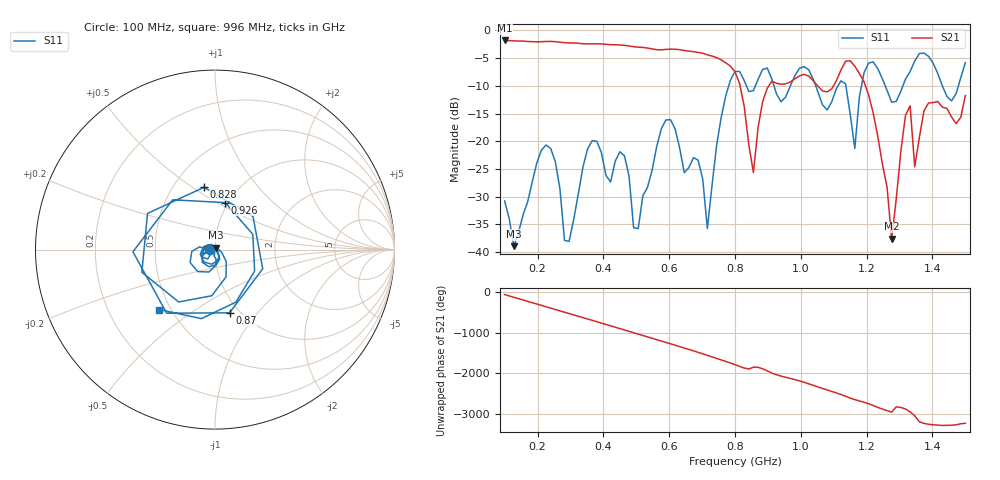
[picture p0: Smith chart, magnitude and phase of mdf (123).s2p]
! NanoVNA-App
! Date: 2025-09-25 15:39:23
! Start: 100MHz Stop: 1,5GHz Points: 101
! S-Parameter data: F S11 S21 S12 S22
# Hz S RI R 50
!  Frequency  S11_Real  S11_Imag  S21_Real  S21_Imag  S12_Real  S12_Imag  S22_Real  S22_Imag
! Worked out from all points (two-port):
!   101 points, 100 MHz to 1.5 GHz, reference 50 ohm
!   highest |S21| = -1.80 dB at 100 MHz (marker M1); lowest = -37.6 dB at 1.276 GHz (marker M2)
!   |S21| within 3 dB of the highest: start of sweep to 739.2 MHz
!   lowest |S11| = -38.9 dB at 128 MHz (marker M3), VSWR 1.02, Z = 50.3 + j1.08 ohm
!   |S11| at or under -10 dB: start of sweep to 781 MHz; 918.4 MHz to 968.3 MHz (49.84 MHz wide, 5.28 % of centre); 1.045 GHz to 1.113 GHz (67.77 MHz wide, 6.28 % of centre) (the widest 3 of 7)
!   S12 and S22 are empty: the file has one direction only
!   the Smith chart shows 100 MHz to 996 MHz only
!   S11 on the Smith chart (normalised r, x): 100 MHz: 0.94, -0.01; 828 MHz: 0.70, +0.56; 870 MHz: 0.90, -0.73; 926 MHz: 0.97, +0.55; 996 MHz: 0.43, -0.37
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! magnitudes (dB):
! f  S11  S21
! 100 MHz  -30.8  -1.8
! 128 MHz  -38.9  -1.9
! 212 MHz  -21.6  -2.0
! 282 MHz  -37.9  -2.2
! 338 MHz  -24.7  -2.4
! 464 MHz  -22.6  -2.7
! 506 MHz  -35.8  -3.0
! 576 MHz  -17.8  -3.5
! 716 MHz  -35.8  -4.4
! 800 MHz  -7.4  -7.5
! 828 MHz  -9.1  -13.7
! 856 MHz  -10.9  -25.7
! 870 MHz  -8.8  -17.5
! 926 MHz  -11.4  -9.5
! 996 MHz  -6.8  -8.2
! 1.038 GHz  -8.8  -9.1
! 1.164 GHz  -21.3  -6.4
! 1.192 GHz  -7.6  -9.3
! 1.276 GHz  -13.0  -37.6
! 1.332 GHz  -7.4  -13.6
! 1.346 GHz  -5.5  -24.6
! 1.5 GHz  -5.8  -11.8
